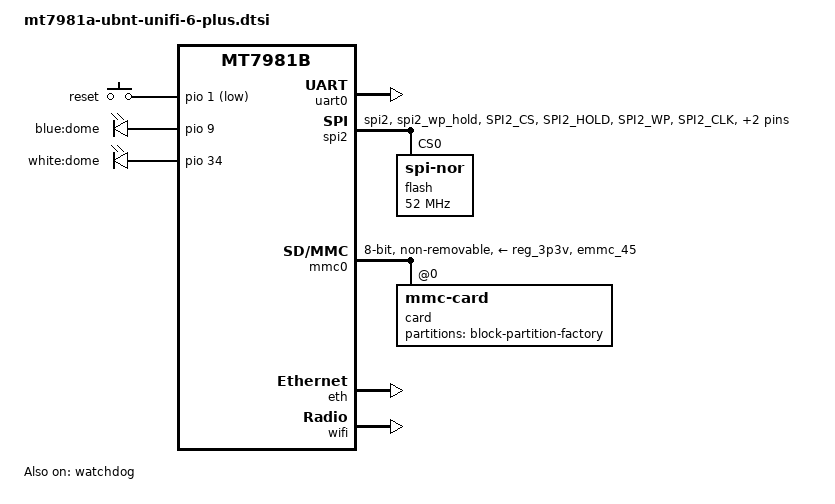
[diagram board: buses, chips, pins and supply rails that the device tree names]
// SPDX-License-Identifier: GPL-2.0-or-later OR MIT

#include <dt-bindings/pinctrl/mt65xx.h>

#include "mt7981b.dtsi"

/ {
	aliases {
		serial0 = &uart0;
		led-boot = &led_white;
		led-failsafe = &led_white;
		led-running = &led_blue;
		led-upgrade = &led_blue;
	};

	chosen {
		stdout-path = "serial0:115200n8";
	};

	gpio-keys {
		compatible = "gpio-keys";

		reset {
			label = "reset";
			linux,code = <KEY_RESTART>;
			gpios = <&pio 1 GPIO_ACTIVE_LOW>;
		};
	};

	leds {
		compatible = "gpio-leds";

		led_blue: dome-blue {
			label = "blue:dome";
			gpios = <&pio 9 GPIO_ACTIVE_HIGH>;
		};

		led_white: dome-white {
			label = "white:dome";
			gpios = <&pio 34 GPIO_ACTIVE_HIGH>;
		};
	};
};

&uart0 {
	status = "okay";
};

&watchdog {
	status = "okay";
};

&pio {
	spi2_flash_pins: spi2-pins {
		mux {
			function = "spi";
			groups = "spi2", "spi2_wp_hold";
		};

		conf-pu {
			pins = "SPI2_CS", "SPI2_HOLD", "SPI2_WP";
			drive-strength = <MTK_DRIVE_8mA>;
			bias-pull-up = <MTK_PUPD_SET_R1R0_11>;
		};

		conf-pd {
			pins = "SPI2_CLK", "SPI2_MOSI", "SPI2_MISO";
			drive-strength = <MTK_DRIVE_8mA>;
			bias-pull-down = <MTK_PUPD_SET_R1R0_11>;
		};
	};

	mmc0_pins_default: mmc0-pins-default {
		mux {
			function = "flash";
			groups = "emmc_45";
		};
	};

	mmc0_pins_uhs: mmc0-pins-uhs {
		mux {
			function = "flash";
			groups = "emmc_45";
		};
	};
};

&spi2 {
	pinctrl-names = "default";
	pinctrl-0 = <&spi2_flash_pins>;
	status = "okay";

	flash@0 {
		compatible = "jedec,spi-nor";
		reg = <0>;
		spi-max-frequency = <52000000>;
		spi-tx-bus-width = <4>;
		spi-rx-bus-width = <4>;

		partitions {
			compatible = "fixed-partitions";
			#address-cells = <1>;
			#size-cells = <1>;
		};
	};
};

&mmc0 {
	pinctrl-names = "default", "state_uhs";
	pinctrl-0 = <&mmc0_pins_default>;
	pinctrl-1 = <&mmc0_pins_uhs>;
	bus-width = <8>;
	max-frequency = <52000000>;
	cap-mmc-highspeed;
	vmmc-supply = <&reg_3p3v>;
	non-removable;
	status = "okay";
	#address-cells = <1>;
	#size-cells = <0>;

	card@0 {
		compatible = "mmc-card";
		reg = <0>;

		block {
			compatible = "block-device";

			partitions {
				block-partition-factory {
					partname = "factory";

					nvmem-layout {
						compatible = "fixed-layout";
						#address-cells = <1>;
						#size-cells = <1>;

						eeprom_factory_0: eeprom@0 {
							reg = <0x0 0x1000>;
						};

						precal_factory_1010: precal@1010 {
							reg = <0x1010 0x6f010>;
						};
					};
				};
			};
		};
	};
};

&eth {
	pinctrl-names = "default";
	pinctrl-0 = <&mdio_pins>;
	status = "okay";

	gmac1: mac@1 {
		compatible = "mediatek,eth-mac";
		reg = <1>;
		phy-mode = "gmii";
		phy-handle = <&int_gbe_phy>;
	};
};

&wifi {
	nvmem-cells = <&eeprom_factory_0>, <&precal_factory_1010>;
	nvmem-cell-names = "eeprom", "precal";
	status = "okay";
};
